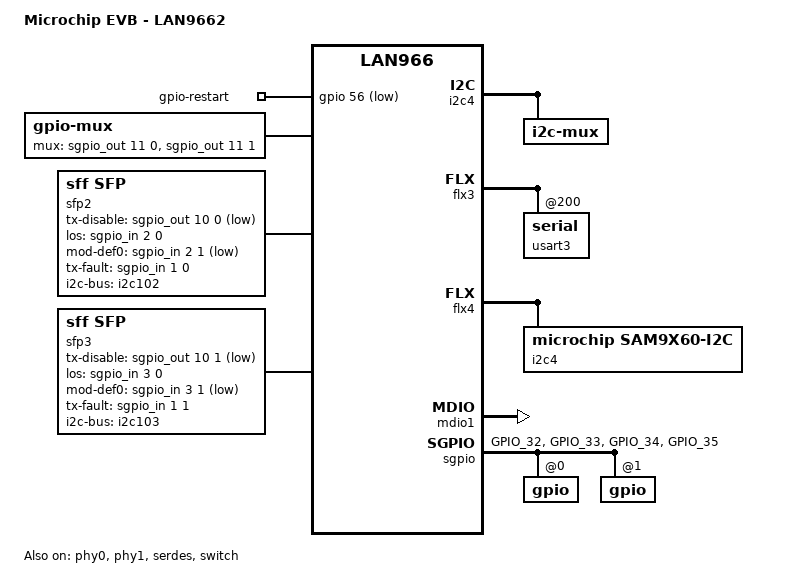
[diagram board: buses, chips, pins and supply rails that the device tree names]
// SPDX-License-Identifier: (GPL-2.0+ OR MIT)
/*
 * lan966x_pcb8309.dts - Device Tree file for PCB8309
 */
/dts-v1/;
#include "lan966x.dtsi"
#include "dt-bindings/phy/phy-lan966x-serdes.h"

/ {
	model = "Microchip EVB - LAN9662";
	compatible = "microchip,lan9662-pcb8309", "microchip,lan9662", "microchip,lan966";

	aliases {
		serial0 = &usart3;
		i2c102 = &i2c102;
		i2c103 = &i2c103;
	};

	chosen {
		stdout-path = "serial0:115200n8";
	};

	gpio-restart {
		compatible = "gpio-restart";
		gpios = <&gpio 56 GPIO_ACTIVE_LOW>;
		priority = <200>;
	};

	i2c-mux {
		compatible = "i2c-mux";
		#address-cells = <1>;
		#size-cells = <0>;
		mux-controls = <&mux>;
		i2c-parent = <&i2c4>;

		i2c102: i2c-sfp@1 {
			reg = <1>;
		};

		i2c103: i2c-sfp@2 {
			reg = <2>;
		};
	};

	mux: mux-controller {
		compatible = "gpio-mux";
		#mux-control-cells = <0>;

		mux-gpios = <&sgpio_out 11 0 GPIO_ACTIVE_HIGH>, /* p11b0 */
			    <&sgpio_out 11 1 GPIO_ACTIVE_HIGH>; /* p11b1 */
	};

	sfp2: sfp2 {
		compatible = "sff,sfp";
		i2c-bus = <&i2c102>;
		tx-disable-gpios = <&sgpio_out 10 0 GPIO_ACTIVE_LOW>;
		los-gpios = <&sgpio_in  2 0 GPIO_ACTIVE_HIGH>;
		mod-def0-gpios = <&sgpio_in  2 1 GPIO_ACTIVE_LOW>;
		tx-fault-gpios = <&sgpio_in  1 0 GPIO_ACTIVE_HIGH>;
	};

	sfp3: sfp3 {
		compatible = "sff,sfp";
		i2c-bus = <&i2c103>;
		tx-disable-gpios = <&sgpio_out 10 1 GPIO_ACTIVE_LOW>;
		los-gpios = <&sgpio_in  3 0 GPIO_ACTIVE_HIGH>;
		mod-def0-gpios = <&sgpio_in  3 1 GPIO_ACTIVE_LOW>;
		tx-fault-gpios = <&sgpio_in  1 1 GPIO_ACTIVE_HIGH>;
	};
};

&flx3 {
	atmel,flexcom-mode = <ATMEL_FLEXCOM_MODE_USART>;
	status = "okay";

	usart3: serial@200 {
		pinctrl-0 = <&fc3_b_pins>;
		pinctrl-names = "default";
		status = "okay";
	};
};

&flx4 {
	atmel,flexcom-mode = <ATMEL_FLEXCOM_MODE_TWI>;
	status = "okay";

	i2c4: i2c@600 {
		compatible = "microchip,sam9x60-i2c";
		reg = <0x600 0x200>;
		interrupts = <GIC_SPI 52 IRQ_TYPE_LEVEL_HIGH>;
		clocks = <&nic_clk>;
		pinctrl-0 = <&fc4_b_pins>;
		pinctrl-names = "default";
		i2c-analog-filter;
		i2c-digital-filter;
		i2c-digital-filter-width-ns = <35>;
		i2c-sda-hold-time-ns = <1500>;
		status = "okay";
	};
};

&gpio {
	fc3_b_pins: fc3-b-pins {
		/* RXD, TXD */
		pins = "GPIO_52", "GPIO_53";
		function = "fc3_b";
	};

	fc4_b_pins: fc4-b-pins {
		/* SCL, SDA */
		pins = "GPIO_57", "GPIO_58";
		function = "fc4_b";
	};

	sgpio_a_pins: sgpio-a-pins {
		/* SCK, D0, D1, LD */
		pins = "GPIO_32", "GPIO_33", "GPIO_34", "GPIO_35";
		function = "sgpio_a";
	};
};

&mdio1 {
	status = "okay";
};

&phy0 {
	status = "okay";
};

&phy1 {
	status = "okay";
};

&port0 {
	phy-handle = <&phy0>;
	phy-mode = "gmii";
	phys = <&serdes 0 CU(0)>;
	status = "okay";
};

&port1 {
	phy-handle = <&phy1>;
	phy-mode = "gmii";
	phys = <&serdes 1 CU(1)>;
	status = "okay";
};

&port2 {
	sfp = <&sfp2>;
	managed = "in-band-status";
	phy-mode = "sgmii";
	phys = <&serdes 2 SERDES6G(0)>;
	status = "okay";
};

&port3 {
	sfp = <&sfp3>;
	managed = "in-band-status";
	phy-mode = "sgmii";
	phys = <&serdes 3 SERDES6G(1)>;
	status = "okay";
};

&serdes {
	status = "okay";
};

&sgpio {
	pinctrl-0 = <&sgpio_a_pins>;
	pinctrl-names = "default";
	microchip,sgpio-port-ranges = <0 3>, <8 11>;
	status = "okay";

	gpio@0 {
		ngpios = <64>;
	};
	gpio@1 {
		ngpios = <64>;
	};
};

&switch {
	status = "okay";
};
